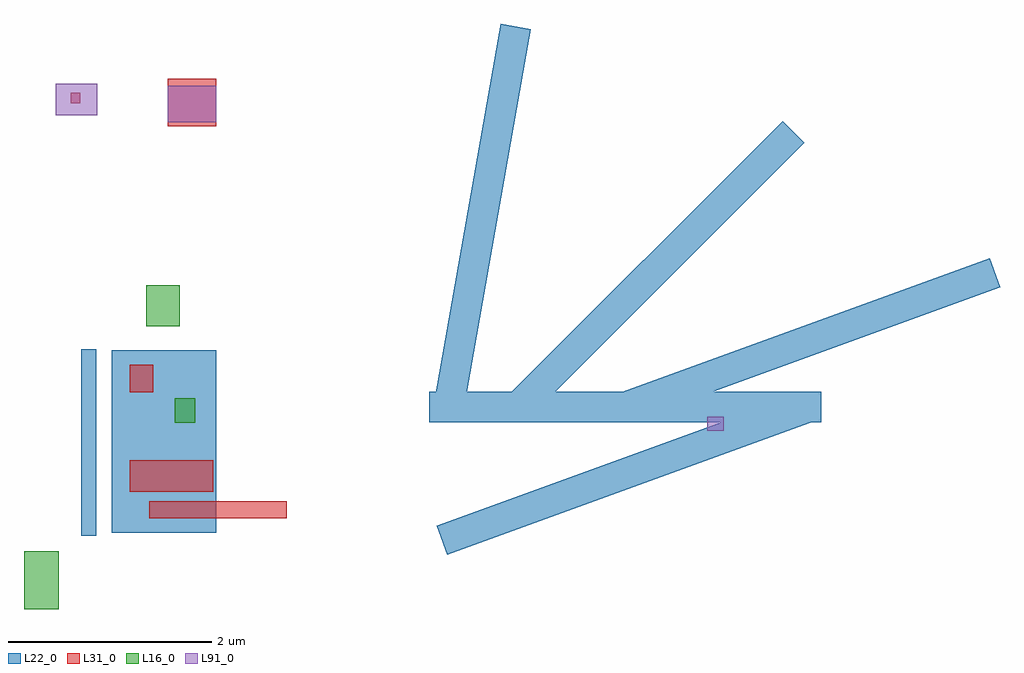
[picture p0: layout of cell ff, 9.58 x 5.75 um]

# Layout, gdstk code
import gdstk
lib = gdstk.Library(unit=1e-6, precision=1e-09)
def R(c, l, rs):  # rectangles x0, y0, x1, y1
    for r in rs: c.add(gdstk.rectangle(r[:2], r[2:], *l))
def P(c, l, *ps):  # polygons
    for p in ps: c.add(gdstk.Polygon(p, *l))
L16_0 = (16, 0)
L22_0 = (22, 0)
L31_0 = (31, 0)
L91_0 = (91, 0)

c_ff = lib.new_cell('ff')
R(c_ff, L16_0, [(-0.93,-1.64,-0.59,-1.07), (0.55,0.19,0.75,0.43), (0.27,1.14,0.6,1.54)])
R(c_ff, L22_0, [(-0.37,-0.92,-0.22,0.91), (-0.07,-0.89,0.96,0.9), (3.05,0.195,6.9,0.495)])
P(c_ff, L22_0, [(4.01,0.218),(3.798,0.43),(6.52,3.152),(6.732,2.94)],
  [(3.378,0.263),(3.083,0.315),(3.752,4.107),(4.047,4.055)],
  [(3.227,-1.104),(3.125,-0.822),(6.743,0.494),(6.845,0.212)],
  [(5.037,0.206),(4.935,0.488),(8.553,1.804),(8.655,1.522)])
R(c_ff, L31_0, [(0.3,-0.75,1.65,-0.58), (0.11,-0.49,0.93,-0.18), (0.11,0.49,0.34,0.76), (0.48,3.1,0.96,3.57), (-0.47,3.33,-0.38,3.43)])
R(c_ff, L91_0, [(5.78,0.11,5.94,0.25), (0.48,3.14,0.96,3.5), (-0.62,3.21,-0.21,3.52)])

lib.write_gds('ff.gds')
